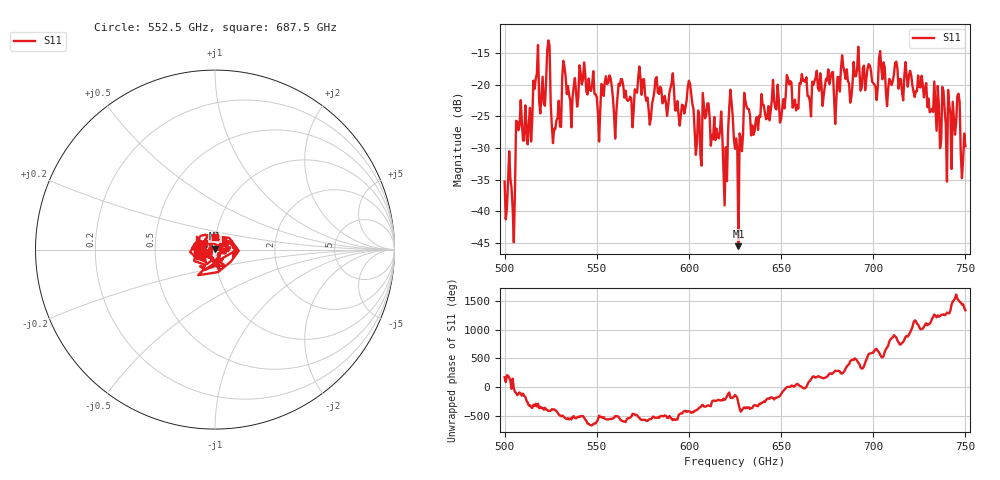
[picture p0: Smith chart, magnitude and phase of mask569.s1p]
!Created with skrf (http://scikit-rf.org).
# GHz S MA R 50.0
!freq magS11 angS11
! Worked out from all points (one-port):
!   401 points, 500 GHz to 750 GHz, reference 50 ohm
!   lowest |S11| = -45.5 dB at 626.9 GHz (marker M1), VSWR 1.01, Z = 50.2 + j0.503 ohm
!   |S11| at or under -10 dB: start of sweep to end of sweep
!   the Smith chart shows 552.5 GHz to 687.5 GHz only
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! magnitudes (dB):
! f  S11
! 500 GHz  -35.3
! 504.4 GHz  -39.6
! 507.5 GHz  -27.2
! 513.8 GHz  -23.7
! 516.9 GHz  -19.1
! 520.6 GHz  -18.7
! 523.8 GHz  -13.0
! 526.9 GHz  -27.0
! 531.2 GHz  -18.9
! 556.2 GHz  -19.7
! 560 GHz  -28.5
! 562.5 GHz  -20.2
! 593.8 GHz  -22.6
! 600.6 GHz  -19.9
! 605.6 GHz  -24.9
! 608.8 GHz  -25.3
! 619.4 GHz  -39.1
! 622.5 GHz  -20.8
! 625 GHz  -30.1
! 626.9 GHz  -45.5
! 631.2 GHz  -23.4
! 635 GHz  -27.9
! 656.2 GHz  -23.6
! 687.5 GHz  -22.9
! 718.8 GHz  -20.3
! 741.2 GHz  -23.3
! 745.6 GHz  -21.8
! 750 GHz  -29.7
